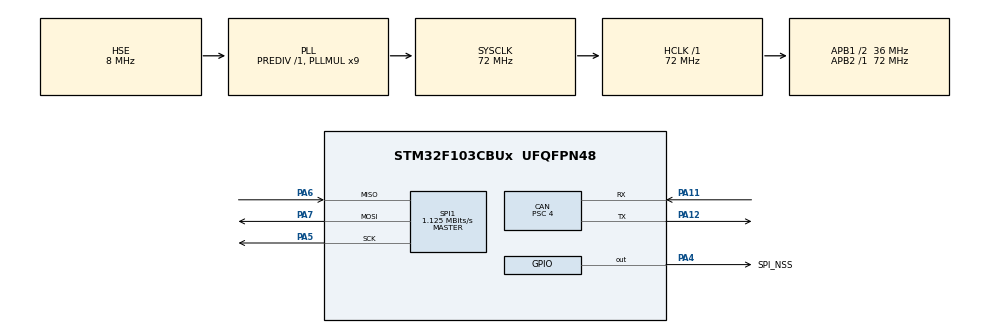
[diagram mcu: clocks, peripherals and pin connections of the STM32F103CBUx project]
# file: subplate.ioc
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CAN.ABOM=ENABLE
CAN.AWUM=ENABLE
CAN.BS1=CAN_BS1_6TQ
CAN.BS2=CAN_BS2_2TQ
CAN.CalculateBaudRate=1000000
CAN.CalculateTimeBit=1000
CAN.CalculateTimeQuantum=111.11111111111111
CAN.Prescaler=4
FREERTOS.INCLUDE_vTaskDelayUntil=1
FREERTOS.Tasks01=defaultTask,0,128,StartDefaultTask,Default,NULL,Dynamic,NULL,NULL
Mcu.Family=STM32F1
Mcu.Name=STM32F103CBUx
Mcu.Package=UFQFPN48
NVIC.CAN1_RX1_IRQn=true\:5\:0\:false\:false\:true\:true\:true\:true\:true
NVIC.PriorityGroup=NVIC_PRIORITYGROUP_4
NVIC.TIM4_IRQn=true\:15\:0\:false\:false\:true\:false\:false\:true\:true
NVIC.TimeBase=TIM4_IRQn
NVIC.TimeBaseIP=TIM4
NVIC.USB_HP_CAN1_TX_IRQn=true\:5\:0\:false\:false\:true\:true\:true\:true\:true
NVIC.USB_LP_CAN1_RX0_IRQn=true\:5\:0\:false\:false\:true\:true\:true\:true\:true
PA11.Mode=CAN_Activate
PA11.Signal=CAN_RX
PA12.Mode=CAN_Activate
PA12.Signal=CAN_TX
PA13.Mode=Serial_Wire
PA13.Signal=SYS_JTMS-SWDIO
PA14.Mode=Serial_Wire
PA14.Signal=SYS_JTCK-SWCLK
PA4.GPIO_Label=SPI_NSS
PA4.GPIO_PuPd=GPIO_PULLUP
PA4.PinState=GPIO_PIN_SET
PA4.Signal=GPIO_Output
PA5.Mode=Full_Duplex_Master
PA5.Signal=SPI1_SCK
PA6.Mode=Full_Duplex_Master
PA6.Signal=SPI1_MISO
PA7.Mode=Full_Duplex_Master
PA7.Signal=SPI1_MOSI
PD0-OSC_IN.Mode=HSE-External-Oscillator
PD0-OSC_IN.Signal=RCC_OSC_IN
PD1-OSC_OUT.Mode=HSE-External-Oscillator
PD1-OSC_OUT.Signal=RCC_OSC_OUT
ProjectManager.HeapSize=0x200
ProjectManager.StackSize=0x400
ProjectManager.TargetToolchain=MDK-ARM V5.32
RCC.AHBFreq_Value=72000000
RCC.APB1CLKDivider=RCC_HCLK_DIV2
RCC.APB1Freq_Value=36000000
RCC.APB1TimFreq_Value=72000000
RCC.APB2Freq_Value=72000000
RCC.APB2TimFreq_Value=72000000
RCC.HCLKFreq_Value=72000000
RCC.PLLMUL=RCC_PLL_MUL9
RCC.PLLSourceVirtual=RCC_PLLSOURCE_HSE
RCC.SYSCLKFreq_VALUE=72000000
RCC.SYSCLKSource=RCC_SYSCLKSOURCE_PLLCLK
RCC.USBFreq_Value=72000000
SPI1.BaudRatePrescaler=SPI_BAUDRATEPRESCALER_64
SPI1.CLKPhase=SPI_PHASE_2EDGE
SPI1.CLKPolarity=SPI_POLARITY_HIGH
SPI1.CalculateBaudRate=1.125 MBits/s
SPI1.Direction=SPI_DIRECTION_2LINES
SPI1.Mode=SPI_MODE_MASTER
SPI1.VirtualType=VM_MASTER
STMicroelectronics.X-CUBE-ALGOBUILD.1.3.0.LibraryCcDSPOoLibraryJjDSPOoLibrary=true
VP_FREERTOS_VS_CMSIS_V1.Mode=CMSIS_V1
VP_STMicroelectronics.X-CUBE-ALGOBUILD_VS_DSPOoLibraryJjLibrary_1.3.0_1.3.0.Mode=DSPOoLibraryJjLibrary
VP_SYS_VS_tim4.Mode=TIM4
board=custom

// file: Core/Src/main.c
/* USER CODE BEGIN Header */
/**
  ******************************************************************************
  * @file           : main.c
  * @brief          : Main program body
  ******************************************************************************
  * @attention
  *
  * Copyright (c) 2023 STMicroelectronics.
  * All rights reserved.
  *
  * This software is licensed under terms that can be found in the LICENSE file
  * in the root directory of this software component.
  * If no LICENSE file comes with this software, it is provided AS-IS.
  *
  ******************************************************************************
  */
/* USER CODE END Header */
#include "main.h"
#include "cmsis_os.h"
#include "can.h"
#include "spi.h"
#include "gpio.h"
#include "motor_task.h"

void SystemClock_Config(void);
void MX_FREERTOS_Init(void);
/* USER CODE BEGIN PFP */
void can_filter_init(void);
/* USER CODE END PFP */

int main(void)
{

  /* MCU Configuration--------------------------------------------------------*/

  /* Reset of all peripherals, Initializes the Flash interface and the Systick. */
  HAL_Init();

  /* Configure the system clock */
  SystemClock_Config();

  /* Initialize all configured peripherals */
  MX_GPIO_Init();
  MX_CAN_Init();
  MX_SPI1_Init();
  /* USER CODE BEGIN 2 */
	__HAL_SPI_ENABLE(&hspi1);
	can_filter_init();
	system_init();
  /* USER CODE END 2 */

  /* Call init function for freertos objects (in freertos.c) */
  MX_FREERTOS_Init();

  /* Start scheduler */
  osKernelStart();
  /* We should never get here as control is now taken by the scheduler */
  /* Infinite loop */
  while (1)
  {

  }
}

void SystemClock_Config(void)
{
  RCC_OscInitTypeDef RCC_OscInitStruct = {0};
  RCC_ClkInitTypeDef RCC_ClkInitStruct = {0};

  /** Initializes the RCC Oscillators according to the specified parameters
  * in the RCC_OscInitTypeDef structure.
  */
  RCC_OscInitStruct.OscillatorType = RCC_OSCILLATORTYPE_HSE;
  RCC_OscInitStruct.HSEState = RCC_HSE_ON;
  RCC_OscInitStruct.HSEPredivValue = RCC_HSE_PREDIV_DIV1;
  RCC_OscInitStruct.HSIState = RCC_HSI_ON;
  RCC_OscInitStruct.PLL.PLLState = RCC_PLL_ON;
  RCC_OscInitStruct.PLL.PLLSource = RCC_PLLSOURCE_HSE;
  RCC_OscInitStruct.PLL.PLLMUL = RCC_PLL_MUL9;
  if (HAL_RCC_OscConfig(&RCC_OscInitStruct) != HAL_OK)
  {
    Error_Handler();
  }

  /** Initializes the CPU, AHB and APB buses clocks
  */
  RCC_ClkInitStruct.ClockType = RCC_CLOCKTYPE_HCLK|RCC_CLOCKTYPE_SYSCLK
                              |RCC_CLOCKTYPE_PCLK1|RCC_CLOCKTYPE_PCLK2;
  RCC_ClkInitStruct.SYSCLKSource = RCC_SYSCLKSOURCE_PLLCLK;
  RCC_ClkInitStruct.AHBCLKDivider = RCC_SYSCLK_DIV1;
  RCC_ClkInitStruct.APB1CLKDivider = RCC_HCLK_DIV2;
  RCC_ClkInitStruct.APB2CLKDivider = RCC_HCLK_DIV1;

  if (HAL_RCC_ClockConfig(&RCC_ClkInitStruct, FLASH_LATENCY_2) != HAL_OK)
  {
    Error_Handler();
  }
}

/* USER CODE BEGIN 4 */

void can_filter_init(void)
{

    CAN_FilterTypeDef can_filter_st;
    can_filter_st.FilterActivation = ENABLE;
    can_filter_st.FilterMode = CAN_FILTERMODE_IDMASK;
    can_filter_st.FilterScale = CAN_FILTERSCALE_32BIT;
    can_filter_st.FilterIdHigh = 0x0000;
    can_filter_st.FilterIdLow = 0x0000;
    can_filter_st.FilterMaskIdHigh = 0x0000;
    can_filter_st.FilterMaskIdLow = 0x0000;
    can_filter_st.FilterBank = 0;
    can_filter_st.FilterFIFOAssignment = CAN_RX_FIFO0;
    HAL_CAN_ConfigFilter(&hcan, &can_filter_st);

    HAL_CAN_ActivateNotification(&hcan, CAN_IT_RX_FIFO0_MSG_PENDING);

//	  CAN_FilterTypeDef can_filter_st2;
//    can_filter_st2.FilterActivation = ENABLE;
//    can_filter_st2.FilterMode = CAN_FILTERMODE_IDMASK;
//    can_filter_st2.FilterScale = CAN_FILTERSCALE_32BIT;
//    can_filter_st2.FilterIdHigh = 0x0000;
//    can_filter_st2.FilterIdLow = 0x0000;
//    can_filter_st2.FilterMaskIdHigh = 0x0000;
//    can_filter_st2.FilterMaskIdLow = 0x0000;
//    can_filter_st2.FilterBank = 0;
//    can_filter_st2.FilterFIFOAssignment = CAN_RX_FIFO1;
//    HAL_CAN_ConfigFilter(&hcan, &can_filter_st2);
//    HAL_CAN_ActivateNotification(&hcan, CAN_IT_RX_FIFO1_MSG_PENDING);
//
		HAL_CAN_Start(&hcan);
}

/* USER CODE END 4 */

void HAL_TIM_PeriodElapsedCallback(TIM_HandleTypeDef *htim)
{
  if (htim->Instance == TIM4) {
    HAL_IncTick();
  }
}

void Error_Handler(void)
{
  __disable_irq();
  while (1)
  {
  }
}

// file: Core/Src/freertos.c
/* USER CODE BEGIN Header */
/**
  ******************************************************************************
  * File Name          : freertos.c
  * Description        : Code for freertos applications
  ******************************************************************************
  * @attention
  *
  * Copyright (c) 2023 STMicroelectronics.
  * All rights reserved.
  *
  * This software is licensed under terms that can be found in the LICENSE file
  * in the root directory of this software component.
  * If no LICENSE file comes with this software, it is provided AS-IS.
  *
  ******************************************************************************
  */
/* USER CODE END Header */

#include "FreeRTOS.h"
#include "task.h"
#include "main.h"
#include "cmsis_os.h"
#include "can_feedback.h"

osThreadId MT6816TaskHandle;
osThreadId defaultTaskHandle;

void MT6816_Task(void const * argument);

void MX_FREERTOS_Init(void); /* (MISRA C 2004 rule 8.1) */

/* GetIdleTaskMemory prototype (linked to static allocation support) */
void vApplicationGetIdleTaskMemory( StaticTask_t **ppxIdleTaskTCBBuffer, StackType_t **ppxIdleTaskStackBuffer, uint32_t *pulIdleTaskStackSize );

/* USER CODE BEGIN GET_IDLE_TASK_MEMORY */
static StaticTask_t xIdleTaskTCBBuffer;
static StackType_t xIdleStack[configMINIMAL_STACK_SIZE];

void vApplicationGetIdleTaskMemory( StaticTask_t **ppxIdleTaskTCBBuffer, StackType_t **ppxIdleTaskStackBuffer, uint32_t *pulIdleTaskStackSize )
{
  *ppxIdleTaskTCBBuffer = &xIdleTaskTCBBuffer;
  *ppxIdleTaskStackBuffer = &xIdleStack[0];
  *pulIdleTaskStackSize = configMINIMAL_STACK_SIZE;
  /* place for user code */
}
/* USER CODE END GET_IDLE_TASK_MEMORY */

void MX_FREERTOS_Init(void) {

  /* Create the thread(s) */
  /* definition and creation of defaultTask */
	osThreadDef(MT_6816Task, MT6816_Task, osPriorityHigh, 0, 128);
  MT6816TaskHandle = osThreadCreate(osThread(MT_6816Task), NULL);

}
